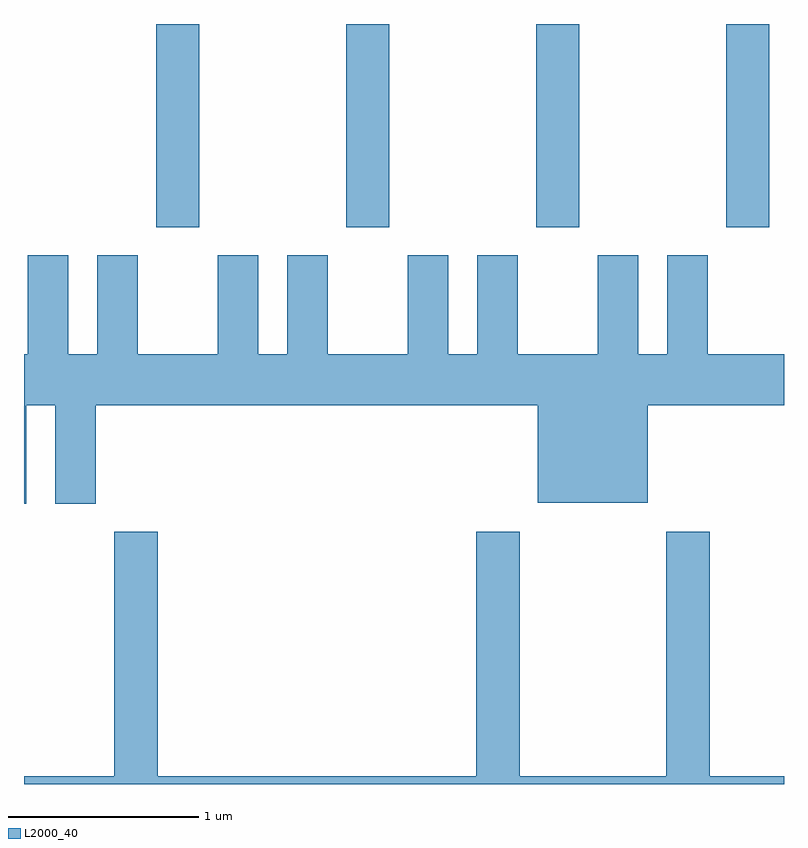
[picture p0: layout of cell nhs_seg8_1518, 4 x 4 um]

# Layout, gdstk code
import gdstk
lib = gdstk.Library(unit=1e-6, precision=1e-09)
def R(c, l, rs):  # rectangles x0, y0, x1, y1
    for r in rs: c.add(gdstk.rectangle(r[:2], r[2:], *l))
def A(c, l, x, y, w, h, nx, ny, dx, dy):  # array of equal rectangles
    R(c, l, [(x+i*dx, y+j*dy, x+i*dx+w, y+j*dy+h) for i in range(nx) for j in range(ny)])
def P(c, l, *ps):  # polygons
    for p in ps: c.add(gdstk.Polygon(p, *l))
L2000_40 = (2000, 40)

nhs_seg8_1518 = lib.new_cell('nhs_seg8_1518')
A(nhs_seg8_1518, L2000_40, 230.306, 1917.271, 0.228, 1.071, 4, 1, 1, 0)
P(nhs_seg8_1518, L2000_40, [(229.624,1916.336),(229.776,1916.336),(229.776,1915.816),(229.989,1915.816),(229.989,1916.336),(232.316,1916.336),(232.316,1915.821),(232.894,1915.821),(232.894,1916.336),(233.611,1916.336),(233.611,1916.604),(233.209,1916.604),(233.209,1917.124),(232.996,1917.124),(232.996,1916.604),(232.844,1916.604),(232.844,1917.124),(232.631,1917.124),(232.631,1916.604),(232.209,1916.604),(232.209,1917.124),(231.996,1917.124),(231.996,1916.604),(231.844,1916.604),(231.844,1917.124),(231.631,1917.124),(231.631,1916.604),(231.209,1916.604),(231.209,1917.124),(230.996,1917.124),(230.996,1916.604),(230.844,1916.604),(230.844,1917.124),(230.631,1917.124),(230.631,1916.604),(230.209,1916.604),(230.209,1917.124),(229.996,1917.124),(229.996,1916.604),(229.844,1916.604),(229.844,1917.124),(229.631,1917.124),(229.631,1916.604),(229.611,1916.604),(229.611,1915.816),(229.624,1915.816)],
  [(233.219,1915.669),(232.991,1915.669),(232.991,1914.384),(232.219,1914.384),(232.219,1915.669),(231.991,1915.669),(231.991,1914.384),(230.314,1914.384),(230.314,1915.669),(230.086,1915.669),(230.086,1914.384),(229.611,1914.384),(229.611,1914.342),(233.611,1914.342),(233.611,1914.384),(233.219,1914.384)])

lib.write_gds('nhs_seg8_1518.gds')
